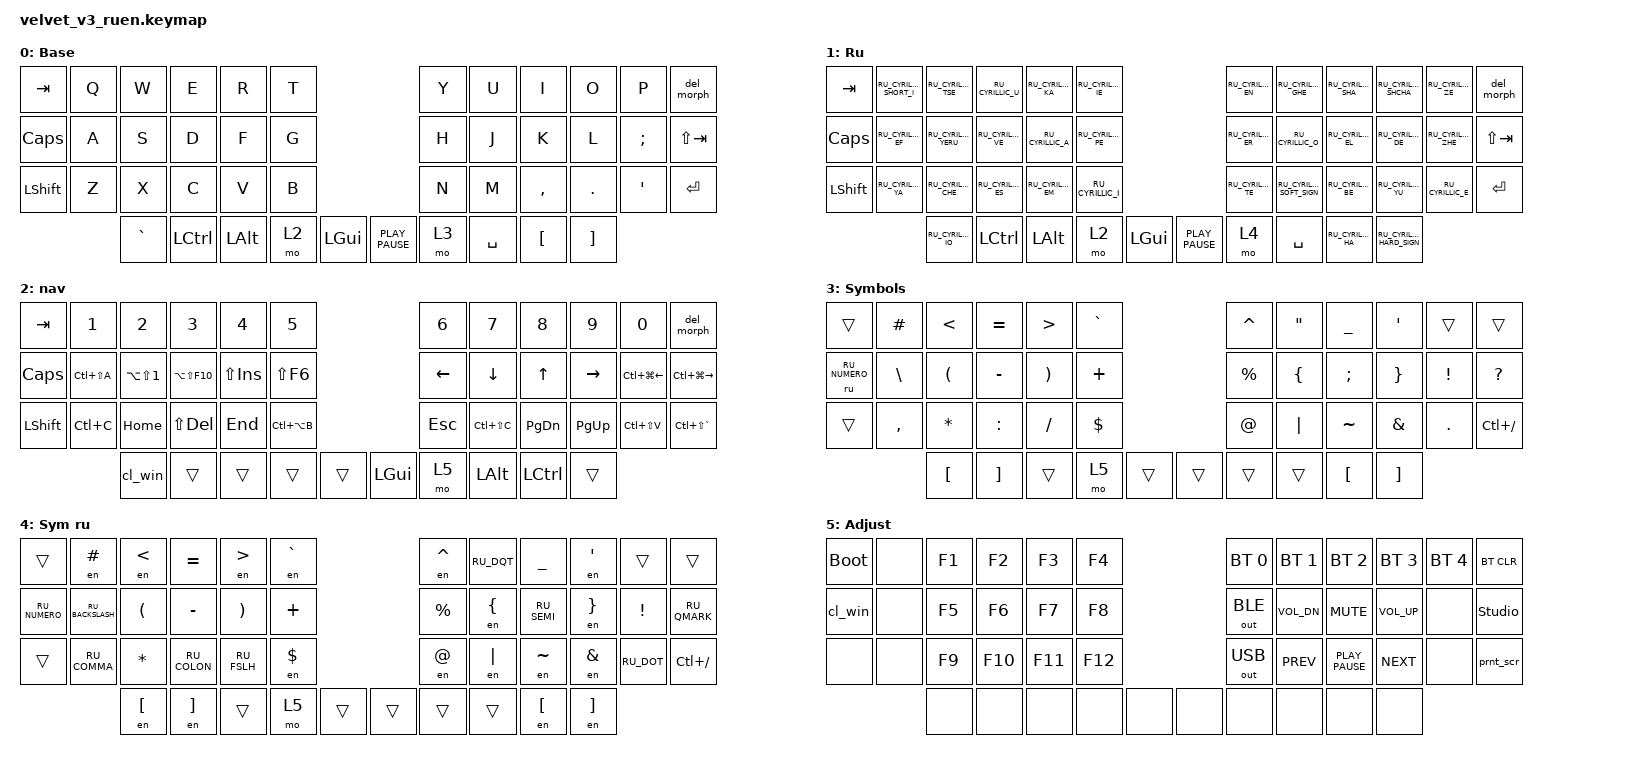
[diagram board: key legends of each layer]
#include "keys_ru.h"
#include <behaviors.dtsi>
#include <dt-bindings/zmk/bt.h>
#include <dt-bindings/zmk/keys.h>
#include <dt-bindings/zmk/outputs.h>

/ {
    combos {
        compatible = "zmk,combos";

        cmben {
            bindings = <&layer_en>;
            key-positions = <1 4>;
            layers = <1>;
        };

        cmbru {
            bindings = <&layer_ru>;
            key-positions = <1 4>;
            layers = <0>;
        };
    };

    macros {
        to_ru: to_ru {
            compatible = "zmk,behavior-macro";
            #binding-cells = <0>;
            bindings = <&kp LS(LC(N2))>;
            label = "TO_RU";
            wait-ms = <0>;
            tap-ms = <30>;
        };

        to_en: to_en {
            compatible = "zmk,behavior-macro";
            #binding-cells = <0>;
            bindings = <&kp LS(LC(N1))>;
            label = "TO_EN";
            wait-ms = <0>;
            tap-ms = <30>;
        };

        layer_en: layer_en {
            compatible = "zmk,behavior-macro";
            #binding-cells = <0>;
            bindings = <&to 0 &to_en>;
            label = "LAYER_EN";
            wait-ms = <0>;
            tap-ms = <30>;
        };

        layer_ru: layer_ru {
            compatible = "zmk,behavior-macro";
            #binding-cells = <0>;
            bindings = <&to 1 &to_ru>;
            label = "LAYER_RU";
            tap-ms = <30>;
            wait-ms = <0>;
        };

        en: en {
            compatible = "zmk,behavior-macro-one-param";
            #binding-cells = <1>;
            bindings =
                <&to_en>,
                <&macro_press>,
                <&macro_param_1to1 &kp MACRO_PLACEHOLDER>,
                <&macro_pause_for_release>,
                <&macro_release>,
                <&macro_param_1to1 &kp MACRO_PLACEHOLDER>,
                <&macro_tap>,
                <&to_ru>;

            label = "EN";
            wait-ms = <0>;
            tap-ms = <30>;
        };

        cl_win: close_window {
            compatible = "zmk,behavior-macro";
            #binding-cells = <0>;
            bindings = <&kp LA(F4)>;
            label = "CLOSE_WINDOW";
        };

        prnt_scr: prnt_scr {
            compatible = "zmk,behavior-macro";
            #binding-cells = <0>;
            bindings = <&kp LS(LG(PRINTSCREEN))>;
            label = "PRNT_SCR";
        };

        ru: ru {
            compatible = "zmk,behavior-macro-one-param";
            #binding-cells = <1>;
            bindings =
                <&to_ru>,
                <&macro_press>,
                <&macro_param_1to1 &kp MACRO_PLACEHOLDER>,
                <&macro_pause_for_release>,
                <&macro_release>,
                <&macro_param_1to1 &kp MACRO_PLACEHOLDER>,
                <&macro_tap>,
                <&to_en>;

            label = "RU";
            wait-ms = <0>;
            tap-ms = <30>;
        };
    };

    behaviors {
        del_morph: del_morph {
            compatible = "zmk,behavior-mod-morph";
            label = "DEL_MORPH";
            bindings = <&kp BACKSPACE>, <&kp DEL>;

            #binding-cells = <0>;
            mods = <(MOD_LSFT)>;
        };
    };

    keymap {
        compatible = "zmk,keymap";

        en {
            bindings = <
&kp TAB    &kp Q  &kp W      &kp E      &kp R     &kp T                                &kp Y  &kp U      &kp I      &kp O     &kp P     &del_morph
&kp CAPS   &kp A  &kp S      &kp D      &kp F     &kp G                                &kp H  &kp J      &kp K      &kp L     &kp SEMI  &kp LS(TAB)
&kp LSHFT  &kp Z  &kp X      &kp C      &kp V     &kp B                                &kp N  &kp M      &kp COMMA  &kp DOT   &kp SQT   &kp RET
                  &kp GRAVE  &kp LCTRL  &kp LALT  &mo 2  &kp LGUI    &kp K_PLAY_PAUSE  &mo 3  &kp SPACE  &kp LBKT   &kp RBKT
            >;

            display-name = "Base";
        };

        ru {
            display-name = "Ru";
            bindings = <
&kp TAB    &kp RU_CYRILLIC_SHORT_I  &kp RU_CYRILLIC_TSE   &kp RU_CYRILLIC_U   &kp RU_CYRILLIC_KA  &kp RU_CYRILLIC_IE                                &kp RU_CYRILLIC_EN  &kp RU_CYRILLIC_GHE        &kp RU_CYRILLIC_SHA  &kp RU_CYRILLIC_SHCHA      &kp RU_CYRILLIC_ZE   &del_morph
&kp CAPS   &kp RU_CYRILLIC_EF       &kp RU_CYRILLIC_YERU  &kp RU_CYRILLIC_VE  &kp RU_CYRILLIC_A   &kp RU_CYRILLIC_PE                                &kp RU_CYRILLIC_ER  &kp RU_CYRILLIC_O          &kp RU_CYRILLIC_EL   &kp RU_CYRILLIC_DE         &kp RU_CYRILLIC_ZHE  &kp LS(TAB)
&kp LSHFT  &kp RU_CYRILLIC_YA       &kp RU_CYRILLIC_CHE   &kp RU_CYRILLIC_ES  &kp RU_CYRILLIC_EM  &kp RU_CYRILLIC_I                                 &kp RU_CYRILLIC_TE  &kp RU_CYRILLIC_SOFT_SIGN  &kp RU_CYRILLIC_BE   &kp RU_CYRILLIC_YU         &kp RU_CYRILLIC_E    &kp RET
                                    &kp RU_CYRILLIC_IO    &kp LCTRL           &kp LALT            &mo 2               &kp LGUI    &kp K_PLAY_PAUSE  &mo 4               &kp SPACE                  &kp RU_CYRILLIC_HA   &kp RU_CYRILLIC_HARD_SIGN
            >;
        };

        nav {
            bindings = <
&kp TAB       &kp N1         &kp N2          &kp N3           &kp N4       &kp N5                             &kp N6    &kp N7         &kp N8         &kp N9       &kp N0            &del_morph
&kp CAPSLOCK  &kp LC(LS(A))  &kp LA(LS(N1))  &kp LA(LS(F10))  &kp LS(INS)  &kp LS(F6)                         &kp LEFT  &kp DOWN       &kp UP         &kp RIGHT    &kp LC(LG(LEFT))  &kp LC(LG(RIGHT))
&kp LSHIFT    &kp LC(C)      &kp HOME        &kp LS(DEL)      &kp END      &kp LC(LA(B))                      &kp ESC   &kp LC(LS(C))  &kp PAGE_DOWN  &kp PAGE_UP  &kp LC(LS(V))     &kp LC(LS(GRAVE))
                             &cl_win         &trans           &trans       &trans         &trans    &kp LGUI  &mo 5     &kp LEFT_ALT   &kp LCTRL      &trans
            >;

            display-name = "nav";
            label = "Navigation";
        };

        sym_en {
            bindings = <
&trans         &kp HASH   &kp LT    &kp EQUAL  &kp GT    &kp GRAVE                    &kp CARET  &kp DOUBLE_QUOTES  &kp UNDER  &kp SQT   &trans    &trans
&ru RU_NUMERO  &kp BSLH   &kp LPAR  &kp MINUS  &kp RPAR  &kp PLUS                     &kp PRCNT  &kp LBRC           &kp SEMI   &kp RBRC  &kp EXCL  &kp QMARK
&trans         &kp COMMA  &kp STAR  &kp COLON  &kp FSLH  &kp DLLR                     &kp AT     &kp PIPE           &kp TILDE  &kp AMPS  &kp DOT   &kp LC(SLASH)
                          &kp LBKT  &kp RBKT   &trans    &mo 5      &trans    &trans  &trans     &trans             &kp LBKT   &kp RBKT
            >;

            display-name = "Symbols";
        };

        sym_ru {
            display-name = "Sym ru";
            bindings = <
&trans         &en HASH          &en LT    &kp EQUAL     &en GT       &en GRAVE                    &en CARET  &kp RU_DQT  &kp UNDER    &en SQT   &trans      &trans
&kp RU_NUMERO  &kp RU_BACKSLASH  &kp LPAR  &kp MINUS     &kp RPAR     &kp PLUS                     &kp PRCNT  &en LBRC    &kp RU_SEMI  &en RBRC  &kp EXCL    &kp RU_QMARK
&trans         &kp RU_COMMA      &kp STAR  &kp RU_COLON  &kp RU_FSLH  &en DLLR                     &en AT     &en PIPE    &en TILDE    &en AMPS  &kp RU_DOT  &kp LC(SLASH)
                                 &en LBKT  &en RBKT      &trans       &mo 5      &trans    &trans  &trans     &trans      &en LBKT     &en RBKT
            >;
        };

        adj {
            bindings = <
&bootloader  &none  &kp F1  &kp F2   &kp F3   &kp F4                   &bt BT_SEL 0  &bt BT_SEL 1  &bt BT_SEL 2      &bt BT_SEL 3  &bt BT_SEL 4  &bt BT_CLR
&cl_win      &none  &kp F5  &kp F6   &kp F7   &kp F8                   &out OUT_BLE  &kp C_VOL_DN  &kp K_MUTE        &kp C_VOL_UP  &none         &studio_unlock
&none        &none  &kp F9  &kp F10  &kp F11  &kp F12                  &out OUT_USB  &kp K_PREV    &kp K_PLAY_PAUSE  &kp K_NEXT    &none         &prnt_scr
                    &none   &none    &none    &none    &none    &none  &none         &none         &none             &none
            >;

            display-name = "Adjust";
        };
    };
};
